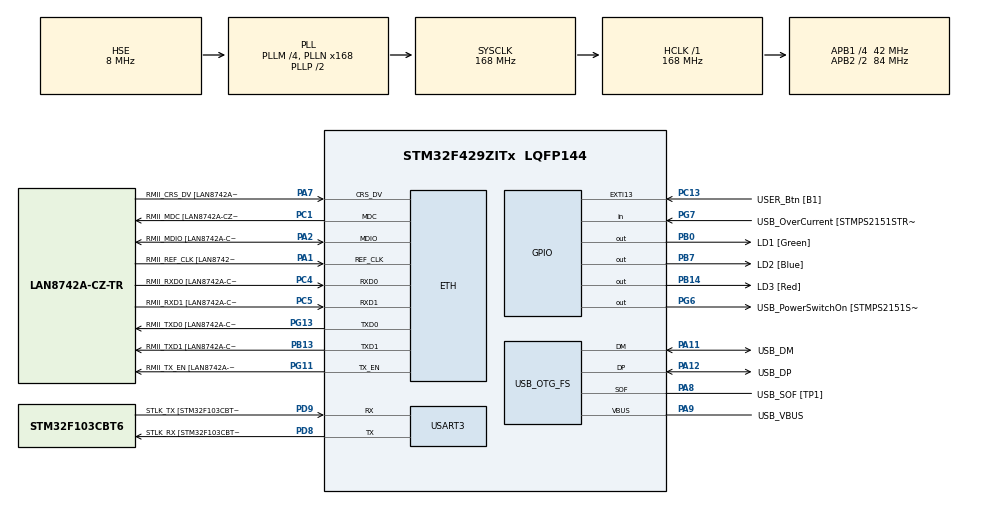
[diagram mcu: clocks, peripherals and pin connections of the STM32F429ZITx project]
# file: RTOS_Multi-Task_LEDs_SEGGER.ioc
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ETH.MediaInterface=HAL_ETH_RMII_MODE
ETH.PHY_Name=LAN8742A_PHY_ADDRESS
ETH.PHY_Value=0
ETH.PhyAddress=0
FREERTOS.Tasks01=GreenTask,24,128,StartGreenTask,Default,NULL,Dynamic,NULL,NULL;BlueTask,8,128,StartBlueTask,Default,NULL,Dynamic,NULL,NULL;RedTask,8,128,StartRedTask,Default,NULL,Dynamic,NULL,NULL;ReadTask,8,128,StartReadTask,Default,NULL,Dynamic,NULL,NULL
FREERTOS.configUSE_NEWLIB_REENTRANT=1
Mcu.Family=STM32F4
Mcu.Name=STM32F429ZITx
Mcu.Package=LQFP144
NVIC.PriorityGroup=NVIC_PRIORITYGROUP_4
NVIC.TIM6_DAC_IRQn=true\:15\:0\:false\:false\:true\:false\:false\:true\:true
NVIC.TimeBase=TIM6_DAC_IRQn
NVIC.TimeBaseIP=TIM6
PA1.GPIO_Label=RMII_REF_CLK [LAN8742A-CZ-TR_REFCLK0]
PA1.Mode=RMII
PA1.Signal=ETH_REF_CLK
PA10.GPIO_Label=USB_ID
PA10.Signal=USB_OTG_FS_ID
PA11.GPIO_Label=USB_DM
PA11.Mode=Device_Only
PA11.Signal=USB_OTG_FS_DM
PA12.GPIO_Label=USB_DP
PA12.Mode=Device_Only
PA12.Signal=USB_OTG_FS_DP
PA13.GPIO_Label=TMS
PA13.Mode=Serial_Wire
PA13.Signal=SYS_JTMS-SWDIO
PA14.GPIO_Label=TCK
PA14.Mode=Serial_Wire
PA14.Signal=SYS_JTCK-SWCLK
PA2.GPIO_Label=RMII_MDIO [LAN8742A-CZ-TR_MDIO]
PA2.Mode=RMII
PA2.Signal=ETH_MDIO
PA7.GPIO_Label=RMII_CRS_DV [LAN8742A-CZ-TR_CRS_DV]
PA7.Mode=RMII
PA7.Signal=ETH_CRS_DV
PA8.GPIO_Label=USB_SOF [TP1]
PA8.Mode=Activate_SOF_FS
PA8.Signal=USB_OTG_FS_SOF
PA9.GPIO_Label=USB_VBUS
PA9.Mode=Activate_VBUS
PA9.Signal=USB_OTG_FS_VBUS
PB0.GPIO_Label=LD1 [Green]
PB0.Signal=GPIO_Output
PB13.GPIO_Label=RMII_TXD1 [LAN8742A-CZ-TR_TXD1]
PB13.Mode=RMII
PB13.Signal=ETH_TXD1
PB14.GPIO_Label=LD3 [Red]
PB14.Signal=GPIO_Output
PB7.GPIO_Label=LD2 [Blue]
PB7.Signal=GPIO_Output
PC1.GPIO_Label=RMII_MDC [LAN8742A-CZ-TR_MDC]
PC1.Mode=RMII
PC1.Signal=ETH_MDC
PC13.GPIO_Label=USER_Btn [B1]
PC13.Signal=GPXTI13
PC14/OSC32_IN.Mode=LSE-External-Oscillator
PC14/OSC32_IN.Signal=RCC_OSC32_IN
PC15/OSC32_OUT.Mode=LSE-External-Oscillator
PC15/OSC32_OUT.Signal=RCC_OSC32_OUT
PC4.GPIO_Label=RMII_RXD0 [LAN8742A-CZ-TR_RXD0]
PC4.Mode=RMII
PC4.Signal=ETH_RXD0
PC5.GPIO_Label=RMII_RXD1 [LAN8742A-CZ-TR_RXD1]
PC5.Mode=RMII
PC5.Signal=ETH_RXD1
PD8.GPIO_Label=STLK_RX [STM32F103CBT6_PA3]
PD8.Mode=Asynchronous
PD8.Signal=USART3_TX
PD9.GPIO_Label=STLK_TX [STM32F103CBT6_PA2]
PD9.Mode=Asynchronous
PD9.Signal=USART3_RX
PG11.GPIO_Label=RMII_TX_EN [LAN8742A-CZ-TR_TXEN]
PG11.Mode=RMII
PG11.Signal=ETH_TX_EN
PG13.GPIO_Label=RMII_TXD0 [LAN8742A-CZ-TR_TXD0]
PG13.Mode=RMII
PG13.Signal=ETH_TXD0
PG6.GPIO_Label=USB_PowerSwitchOn [STMPS2151STR_EN]
PG6.Signal=GPIO_Output
PG7.GPIO_Label=USB_OverCurrent [STMPS2151STR_FAULT]
PG7.Signal=GPIO_Input
PH0/OSC_IN.GPIO_Label=MCO [STM32F103CBT6_PA8]
PH0/OSC_IN.Mode=HSE-External-Clock-Source
PH0/OSC_IN.Signal=RCC_OSC_IN
PH1/OSC_OUT.Mode=HSE-External-Clock-Source
PH1/OSC_OUT.Signal=RCC_OSC_OUT
ProjectManager.HeapSize=0x200
ProjectManager.StackSize=0x400
ProjectManager.TargetToolchain=STM32CubeIDE
RCC.48MHZClocksFreq_Value=48000000
RCC.AHBFreq_Value=168000000
RCC.APB1CLKDivider=RCC_HCLK_DIV4
RCC.APB1Freq_Value=42000000
RCC.APB1TimFreq_Value=84000000
RCC.APB2CLKDivider=RCC_HCLK_DIV2
RCC.APB2Freq_Value=84000000
RCC.APB2TimCLKDivider=2
RCC.APB2TimFreq_Value=168000000
RCC.CortexFreq_Value=168000000
RCC.HCLKFreq_Value=168000000
RCC.HSE_VALUE=8000000
RCC.HSI_VALUE=16000000
RCC.PLLM=4
RCC.PLLMUL=RCC_PLL_MUL9
RCC.PLLN=168
RCC.PLLQ=7
RCC.PRESCALERUSB=RCC_USBCLKSOURCE_PLL_DIV1_5
RCC.SYSCLKFreq_VALUE=168000000
RCC.SYSCLKSource=RCC_SYSCLKSOURCE_PLLCLK
RCC.SYSCLKSourceVirtual=RCC_SYSCLKSOURCE_PLLCLK
RCC.USBFreq_Value=48000000
RCC.VCOOutputFreq_Value=336000000
USART3.VirtualMode=VM_ASYNC
USB_OTG_FS.VirtualMode=Device_Only
VP_FREERTOS_VS_CMSIS_V2.Mode=CMSIS_V2
VP_SYS_VS_tim6.Mode=TIM6
board=NUCLEO-F429ZI

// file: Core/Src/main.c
/* USER CODE BEGIN Header */
/**
 ******************************************************************************
 * @file           : main.c
 * @brief          : Main program body
 ******************************************************************************
 * @attention
 *
 * Copyright (c) 2025 STMicroelectronics.
 * All rights reserved.
 *
 * This software is licensed under terms that can be found in the LICENSE file
 * in the root directory of this software component.
 * If no LICENSE file comes with this software, it is provided AS-IS.
 *
 ******************************************************************************
 */
/* USER CODE END Header */
#include "main.h"
#include "string.h"
#include "cmsis_os.h"

/* USER CODE BEGIN Includes */
#include "SEGGER_RTT.h"
/* USER CODE END Includes */

ETH_TxPacketConfig TxConfig;
ETH_DMADescTypeDef  DMARxDscrTab[ETH_RX_DESC_CNT]; /* Ethernet Rx DMA Descriptors */
ETH_DMADescTypeDef  DMATxDscrTab[ETH_TX_DESC_CNT]; /* Ethernet Tx DMA Descriptors */

ETH_HandleTypeDef heth;

UART_HandleTypeDef huart3;

PCD_HandleTypeDef hpcd_USB_OTG_FS;

int jLEDTick = 1;	// global variable for user input via SEGGER

/* Definitions for GreenTask */
osThreadId_t GreenTaskHandle;
const osThreadAttr_t GreenTask_attributes = {
		.name = "GreenTask",
		.stack_size = 128 * 4,
		.priority = (osPriority_t) osPriorityNormal,
};
/* Definitions for BlueTask */
osThreadId_t BlueTaskHandle;
const osThreadAttr_t BlueTask_attributes = {
		.name = "BlueTask",
		.stack_size = 128 * 4,
		.priority = (osPriority_t) osPriorityLow,
};
/* Definitions for RedTask */
osThreadId_t RedTaskHandle;
const osThreadAttr_t RedTask_attributes = {
		.name = "RedTask",
		.stack_size = 128 * 4,
		.priority = (osPriority_t) osPriorityLow,
};
/* Definitions for ReadTask */
osThreadId_t ReadTaskHandle;
const osThreadAttr_t ReadTask_attributes = {
		.name = "ReadTask",
		.stack_size = 128 * 4,
		.priority = (osPriority_t) osPriorityLow,
};

void SystemClock_Config(void);
static void MX_GPIO_Init(void);
static void MX_ETH_Init(void);
static void MX_USART3_UART_Init(void);
static void MX_USB_OTG_FS_PCD_Init(void);
void StartGreenTask(void *argument);
void StartBlueTask(void *argument);
void StartRedTask(void *argument);
void StartReadTask(void *argument);

/* USER CODE BEGIN PFP */
void RTT_Read(void);
/* USER CODE END PFP */

int main(void)
{

	/* MCU Configuration--------------------------------------------------------*/

	/* Reset of all peripherals, Initializes the Flash interface and the Systick. */
	HAL_Init();

	/* Configure the system clock */
	SystemClock_Config();

	/* Initialize all configured peripherals */
	MX_GPIO_Init();
	MX_ETH_Init();
	MX_USART3_UART_Init();
	MX_USB_OTG_FS_PCD_Init();
	/* USER CODE BEGIN 2 */
	SEGGER_RTT_ConfigUpBuffer(0, NULL, NULL, 0, SEGGER_RTT_MODE_NO_BLOCK_SKIP);
	SEGGER_RTT_printf(0, "starting... \r\n");
	/* USER CODE END 2 */

	/* Init scheduler */
	osKernelInitialize();

	/* Create the thread(s) */
	/* creation of GreenTask */
	GreenTaskHandle = osThreadNew(StartGreenTask, NULL, &GreenTask_attributes);

	/* creation of BlueTask */
	BlueTaskHandle = osThreadNew(StartBlueTask, NULL, &BlueTask_attributes);

	/* creation of RedTask */
	RedTaskHandle = osThreadNew(StartRedTask, NULL, &RedTask_attributes);

	/* creation of ReadTask */
	ReadTaskHandle = osThreadNew(StartReadTask, NULL, &ReadTask_attributes);

	/* Start scheduler */
	osKernelStart();

	/* We should never get here as control is now taken by the scheduler */
	/* Infinite loop */
	while (1)
	{

	}
}

void SystemClock_Config(void)
{
	RCC_OscInitTypeDef RCC_OscInitStruct = {0};
	RCC_ClkInitTypeDef RCC_ClkInitStruct = {0};

	/** Configure the main internal regulator output voltage
	 */
	__HAL_RCC_PWR_CLK_ENABLE();
	__HAL_PWR_VOLTAGESCALING_CONFIG(PWR_REGULATOR_VOLTAGE_SCALE1);

	/** Initializes the RCC Oscillators according to the specified parameters
	 * in the RCC_OscInitTypeDef structure.
	 */
	RCC_OscInitStruct.OscillatorType = RCC_OSCILLATORTYPE_HSE;
	RCC_OscInitStruct.HSEState = RCC_HSE_BYPASS;
	RCC_OscInitStruct.PLL.PLLState = RCC_PLL_ON;
	RCC_OscInitStruct.PLL.PLLSource = RCC_PLLSOURCE_HSE;
	RCC_OscInitStruct.PLL.PLLM = 4;
	RCC_OscInitStruct.PLL.PLLN = 168;
	RCC_OscInitStruct.PLL.PLLP = RCC_PLLP_DIV2;
	RCC_OscInitStruct.PLL.PLLQ = 7;
	if (HAL_RCC_OscConfig(&RCC_OscInitStruct) != HAL_OK)
	{
		Error_Handler();
	}

	/** Initializes the CPU, AHB and APB buses clocks
	 */
	RCC_ClkInitStruct.ClockType = RCC_CLOCKTYPE_HCLK|RCC_CLOCKTYPE_SYSCLK
			|RCC_CLOCKTYPE_PCLK1|RCC_CLOCKTYPE_PCLK2;
	RCC_ClkInitStruct.SYSCLKSource = RCC_SYSCLKSOURCE_PLLCLK;
	RCC_ClkInitStruct.AHBCLKDivider = RCC_SYSCLK_DIV1;
	RCC_ClkInitStruct.APB1CLKDivider = RCC_HCLK_DIV4;
	RCC_ClkInitStruct.APB2CLKDivider = RCC_HCLK_DIV2;

	if (HAL_RCC_ClockConfig(&RCC_ClkInitStruct, FLASH_LATENCY_5) != HAL_OK)
	{
		Error_Handler();
	}
}

static void MX_ETH_Init(void)
{

	static uint8_t MACAddr[6];

	heth.Instance = ETH;
	MACAddr[0] = 0x00;
	MACAddr[1] = 0x80;
	MACAddr[2] = 0xE1;
	MACAddr[3] = 0x00;
	MACAddr[4] = 0x00;
	MACAddr[5] = 0x00;
	heth.Init.MACAddr = &MACAddr[0];
	heth.Init.MediaInterface = HAL_ETH_RMII_MODE;
	heth.Init.TxDesc = DMATxDscrTab;
	heth.Init.RxDesc = DMARxDscrTab;
	heth.Init.RxBuffLen = 1524;

	if (HAL_ETH_Init(&heth) != HAL_OK)
	{
		Error_Handler();
	}

	memset(&TxConfig, 0 , sizeof(ETH_TxPacketConfig));
	TxConfig.Attributes = ETH_TX_PACKETS_FEATURES_CSUM | ETH_TX_PACKETS_FEATURES_CRCPAD;
	TxConfig.ChecksumCtrl = ETH_CHECKSUM_IPHDR_PAYLOAD_INSERT_PHDR_CALC;
	TxConfig.CRCPadCtrl = ETH_CRC_PAD_INSERT;

}

static void MX_USART3_UART_Init(void)
{

	huart3.Instance = USART3;
	huart3.Init.BaudRate = 115200;
	huart3.Init.WordLength = UART_WORDLENGTH_8B;
	huart3.Init.StopBits = UART_STOPBITS_1;
	huart3.Init.Parity = UART_PARITY_NONE;
	huart3.Init.Mode = UART_MODE_TX_RX;
	huart3.Init.HwFlowCtl = UART_HWCONTROL_NONE;
	huart3.Init.OverSampling = UART_OVERSAMPLING_16;
	if (HAL_UART_Init(&huart3) != HAL_OK)
	{
		Error_Handler();
	}

}

static void MX_USB_OTG_FS_PCD_Init(void)
{

	hpcd_USB_OTG_FS.Instance = USB_OTG_FS;
	hpcd_USB_OTG_FS.Init.dev_endpoints = 4;
	hpcd_USB_OTG_FS.Init.speed = PCD_SPEED_FULL;
	hpcd_USB_OTG_FS.Init.dma_enable = DISABLE;
	hpcd_USB_OTG_FS.Init.phy_itface = PCD_PHY_EMBEDDED;
	hpcd_USB_OTG_FS.Init.Sof_enable = ENABLE;
	hpcd_USB_OTG_FS.Init.low_power_enable = DISABLE;
	hpcd_USB_OTG_FS.Init.lpm_enable = DISABLE;
	hpcd_USB_OTG_FS.Init.vbus_sensing_enable = ENABLE;
	hpcd_USB_OTG_FS.Init.use_dedicated_ep1 = DISABLE;
	if (HAL_PCD_Init(&hpcd_USB_OTG_FS) != HAL_OK)
	{
		Error_Handler();
	}

}

static void MX_GPIO_Init(void)
{
	GPIO_InitTypeDef GPIO_InitStruct = {0};

	/* GPIO Ports Clock Enable */
	__HAL_RCC_GPIOC_CLK_ENABLE();
	__HAL_RCC_GPIOH_CLK_ENABLE();
	__HAL_RCC_GPIOA_CLK_ENABLE();
	__HAL_RCC_GPIOB_CLK_ENABLE();
	__HAL_RCC_GPIOD_CLK_ENABLE();
	__HAL_RCC_GPIOG_CLK_ENABLE();

	/*Configure GPIO pin Output Level */
	HAL_GPIO_WritePin(GPIOB, LD1_Pin|LD3_Pin|LD2_Pin, GPIO_PIN_RESET);

	/*Configure GPIO pin Output Level */
	HAL_GPIO_WritePin(USB_PowerSwitchOn_GPIO_Port, USB_PowerSwitchOn_Pin, GPIO_PIN_RESET);

	/*Configure GPIO pin : USER_Btn_Pin */
	GPIO_InitStruct.Pin = USER_Btn_Pin;
	GPIO_InitStruct.Mode = GPIO_MODE_IT_RISING;
	GPIO_InitStruct.Pull = GPIO_NOPULL;
	HAL_GPIO_Init(USER_Btn_GPIO_Port, &GPIO_InitStruct);

	/*Configure GPIO pins : LD1_Pin LD3_Pin LD2_Pin */
	GPIO_InitStruct.Pin = LD1_Pin|LD3_Pin|LD2_Pin;
	GPIO_InitStruct.Mode = GPIO_MODE_OUTPUT_PP;
	GPIO_InitStruct.Pull = GPIO_NOPULL;
	GPIO_InitStruct.Speed = GPIO_SPEED_FREQ_LOW;
	HAL_GPIO_Init(GPIOB, &GPIO_InitStruct);

	/*Configure GPIO pin : USB_PowerSwitchOn_Pin */
	GPIO_InitStruct.Pin = USB_PowerSwitchOn_Pin;
	GPIO_InitStruct.Mode = GPIO_MODE_OUTPUT_PP;
	GPIO_InitStruct.Pull = GPIO_NOPULL;
	GPIO_InitStruct.Speed = GPIO_SPEED_FREQ_LOW;
	HAL_GPIO_Init(USB_PowerSwitchOn_GPIO_Port, &GPIO_InitStruct);

	/*Configure GPIO pin : USB_OverCurrent_Pin */
	GPIO_InitStruct.Pin = USB_OverCurrent_Pin;
	GPIO_InitStruct.Mode = GPIO_MODE_INPUT;
	GPIO_InitStruct.Pull = GPIO_NOPULL;
	HAL_GPIO_Init(USB_OverCurrent_GPIO_Port, &GPIO_InitStruct);

}

/* USER CODE BEGIN 4 */
void RTT_Read(void){
	char input;
	//if (input >= 48 && input <= 57)
	uint32_t size = SEGGER_RTT_Read(0, &input, 1u);
	if (size > 0){
		SEGGER_RTT_printf(0, "%c", input);
		if (input >= 48 && input <= 57) jLEDTick = atoi(&input);	// added so Ozone would work.
	}
}
/* USER CODE END 4 */

void StartGreenTask(void *argument)
{
	/* USER CODE BEGIN 5 */
	/* Infinite loop */
	int jGreenTaskIteration = 0;
	for (;;) {
		HAL_GPIO_WritePin(GPIOB, GPIO_PIN_0, 1);	// turn ON Green LED
		osDelay(20000);								// wait 20 seconds
		HAL_GPIO_WritePin(GPIOB, GPIO_PIN_0, 0);	// turn OFF Green LED
		SEGGER_RTT_printf(0, "GreenTaskHandle iteration: %d\n", ++jGreenTaskIteration);
		SEGGER_RTT_printf(0, "Green Task will now delete itself, goodbye.\n");
		vTaskDelete(NULL);
	}
	/* USER CODE END 5 */
}

void StartBlueTask(void *argument)
{
	/* USER CODE BEGIN StartBlueTask */
	/* Infinite loop */
	int jBlueTaskIteration = 0;
	for (;;) {
		SEGGER_RTT_printf(0, "BlueTaskHandle iteration: %d\r\n", ++jBlueTaskIteration);
		HAL_GPIO_TogglePin(GPIOB, GPIO_PIN_7);	// BLUE
		osDelay(500);
	}
	/* USER CODE END StartBlueTask */
}

void StartRedTask(void *argument)
{
	/* USER CODE BEGIN StartRedTask */
	/* Infinite loop */
	int jRedTaskIteration = 0;
	int jWaitTick = 1000 * jLEDTick;			// default to one-second delay
	for (;;) {
		jWaitTick = 1000 * jLEDTick;			// 1000ms multiply by client input
		HAL_GPIO_TogglePin(GPIOB, GPIO_PIN_14);	// RED
		osDelay(jWaitTick);
		SEGGER_RTT_printf(0,  "RedTaskHandle iteration: %d\n", ++jRedTaskIteration);
		if (jRedTaskIteration == 20) {
			SEGGER_RTT_printf(0, "RedTaskHandle iteration reach 20th iteration\n");
			SEGGER_RTT_printf(0, "RedTaskHandle will now delete the Blue Task, sayonara!\n");
			vTaskDelete(BlueTaskHandle);
		}
	}
	/* USER CODE END StartRedTask */
}

void StartReadTask(void *argument)
{
	/* USER CODE BEGIN StartReadTask */
	/* Infinite loop */
	for(;;)
	{
		RTT_Read();
		osDelay(1);
	}
	/* USER CODE END StartReadTask */
}

void HAL_TIM_PeriodElapsedCallback(TIM_HandleTypeDef *htim)
{
	if (htim->Instance == TIM6) {
		HAL_IncTick();
	}
}

void Error_Handler(void)
{
	__disable_irq();
	while (1)
	{
	}
}
